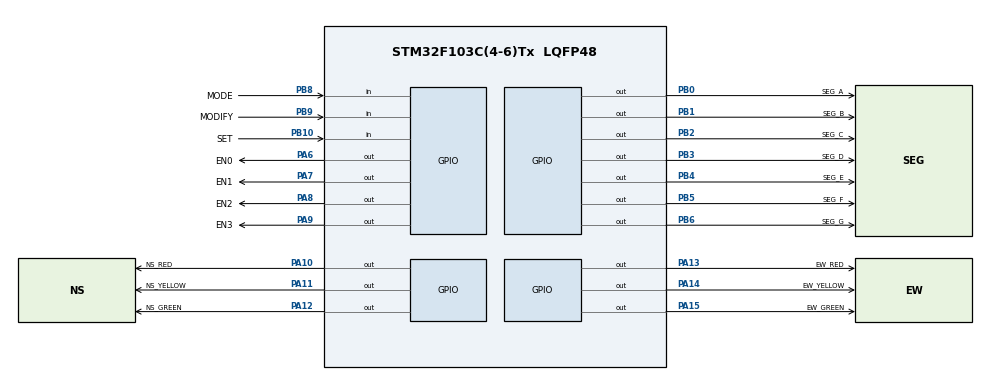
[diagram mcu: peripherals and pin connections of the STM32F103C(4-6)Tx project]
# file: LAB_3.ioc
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Mcu.Family=STM32F1
Mcu.Name=STM32F103C(4-6)Tx
Mcu.Package=LQFP48
NVIC.PriorityGroup=NVIC_PRIORITYGROUP_4
NVIC.TIM2_IRQn=true\:0\:0\:false\:false\:true\:true\:true\:true
PA10.GPIO_Label=NS_RED
PA10.Signal=GPIO_Output
PA11.GPIO_Label=NS_YELLOW
PA11.Signal=GPIO_Output
PA12.GPIO_Label=NS_GREEN
PA12.Signal=GPIO_Output
PA13.GPIO_Label=EW_RED
PA13.Signal=GPIO_Output
PA14.GPIO_Label=EW_YELLOW
PA14.Signal=GPIO_Output
PA15.GPIO_Label=EW_GREEN
PA15.Signal=GPIO_Output
PA6.GPIO_Label=EN0
PA6.Signal=GPIO_Output
PA7.GPIO_Label=EN1
PA7.Signal=GPIO_Output
PA8.GPIO_Label=EN2
PA8.Signal=GPIO_Output
PA9.GPIO_Label=EN3
PA9.Signal=GPIO_Output
PB0.GPIO_Label=SEG_A
PB0.Signal=GPIO_Output
PB1.GPIO_Label=SEG_B
PB1.Signal=GPIO_Output
PB10.GPIO_Label=SET
PB10.GPIO_PuPd=GPIO_PULLUP
PB10.Signal=GPIO_Input
PB2.GPIO_Label=SEG_C
PB2.Signal=GPIO_Output
PB3.GPIO_Label=SEG_D
PB3.Signal=GPIO_Output
PB4.GPIO_Label=SEG_E
PB4.Signal=GPIO_Output
PB5.GPIO_Label=SEG_F
PB5.Signal=GPIO_Output
PB6.GPIO_Label=SEG_G
PB6.Signal=GPIO_Output
PB8.GPIO_Label=MODE
PB8.GPIO_PuPd=GPIO_PULLUP
PB8.Signal=GPIO_Input
PB9.GPIO_Label=MODIFY
PB9.GPIO_PuPd=GPIO_PULLUP
PB9.Signal=GPIO_Input
ProjectManager.HeapSize=0x200
ProjectManager.StackSize=0x400
ProjectManager.TargetToolchain=CMake
RCC.APB1Freq_Value=8000000
RCC.APB2Freq_Value=8000000
TIM2.Period=9
TIM2.Prescaler=7999
VP_SYS_VS_ND.Mode=No_Debug
VP_TIM2_VS_ClockSourceINT.Mode=Internal
board=custom

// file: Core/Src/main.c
/* USER CODE BEGIN Header */
/**
  ******************************************************************************
  * @file           : main.c
  * @brief          : Main program body
  ******************************************************************************
  * @attention
  *
  * Copyright (c) 2026 STMicroelectronics.
  * All rights reserved.
  *
  * This software is licensed under terms that can be found in the LICENSE file
  * in the root directory of this software component.
  * If no LICENSE file comes with this software, it is provided AS-IS.
  *
  ******************************************************************************
  */
/* USER CODE END Header */
#include "main.h"

/* USER CODE BEGIN Includes */

#include "buttons.h"
#include "display.h"
#include "fsm_automatic.h"
#include "fsm_manual.h"
#include "fsm_setting.h"
#include "global.h"
#include "software_timer.h"
#include "traffic_light.h"

/* USER CODE END Includes */

TIM_HandleTypeDef htim2;

void SystemClock_Config(void);
static void MX_GPIO_Init(void);
static void MX_TIM2_Init(void);

int main(void)
{

  /* MCU Configuration--------------------------------------------------------*/

  /* Reset of all peripherals, Initializes the Flash interface and the Systick. */
  HAL_Init();

  /* Configure the system clock */
  SystemClock_Config();

  /* Initialize all configured peripherals */
  MX_GPIO_Init();
  MX_TIM2_Init();
  /* USER CODE BEGIN 2 */

  Buttons_Init();
  Traffic_Init();
  Display_Init();
  fsm_automatic_init();

  if (HAL_TIM_Base_Start_IT(&htim2) != HAL_OK)
  {
    Error_Handler();
  }

  /* USER CODE END 2 */

  /* Infinite loop */
  while (1)
  {

    /* USER CODE BEGIN 3 */
    display();
    fsm_automatic_run();
    fsm_manual_run();
    fsm_setting_run();
  }
  /* USER CODE END 3 */
}

void SystemClock_Config(void)
{
  RCC_OscInitTypeDef RCC_OscInitStruct = {0};
  RCC_ClkInitTypeDef RCC_ClkInitStruct = {0};

  /** Initializes the RCC Oscillators according to the specified parameters
  * in the RCC_OscInitTypeDef structure.
  */
  RCC_OscInitStruct.OscillatorType = RCC_OSCILLATORTYPE_HSI;
  RCC_OscInitStruct.HSIState = RCC_HSI_ON;
  RCC_OscInitStruct.HSICalibrationValue = RCC_HSICALIBRATION_DEFAULT;
  RCC_OscInitStruct.PLL.PLLState = RCC_PLL_NONE;
  if (HAL_RCC_OscConfig(&RCC_OscInitStruct) != HAL_OK)
  {
    Error_Handler();
  }

  /** Initializes the CPU, AHB and APB buses clocks
  */
  RCC_ClkInitStruct.ClockType = RCC_CLOCKTYPE_HCLK|RCC_CLOCKTYPE_SYSCLK
                              |RCC_CLOCKTYPE_PCLK1|RCC_CLOCKTYPE_PCLK2;
  RCC_ClkInitStruct.SYSCLKSource = RCC_SYSCLKSOURCE_HSI;
  RCC_ClkInitStruct.AHBCLKDivider = RCC_SYSCLK_DIV1;
  RCC_ClkInitStruct.APB1CLKDivider = RCC_HCLK_DIV1;
  RCC_ClkInitStruct.APB2CLKDivider = RCC_HCLK_DIV1;

  if (HAL_RCC_ClockConfig(&RCC_ClkInitStruct, FLASH_LATENCY_0) != HAL_OK)
  {
    Error_Handler();
  }
}

static void MX_TIM2_Init(void)
{

  TIM_ClockConfigTypeDef sClockSourceConfig = {0};
  TIM_MasterConfigTypeDef sMasterConfig = {0};

  htim2.Instance = TIM2;
  htim2.Init.Prescaler = 7999;
  htim2.Init.CounterMode = TIM_COUNTERMODE_UP;
  htim2.Init.Period = 9;
  htim2.Init.ClockDivision = TIM_CLOCKDIVISION_DIV1;
  htim2.Init.AutoReloadPreload = TIM_AUTORELOAD_PRELOAD_DISABLE;
  if (HAL_TIM_Base_Init(&htim2) != HAL_OK)
  {
    Error_Handler();
  }
  sClockSourceConfig.ClockSource = TIM_CLOCKSOURCE_INTERNAL;
  if (HAL_TIM_ConfigClockSource(&htim2, &sClockSourceConfig) != HAL_OK)
  {
    Error_Handler();
  }
  sMasterConfig.MasterOutputTrigger = TIM_TRGO_RESET;
  sMasterConfig.MasterSlaveMode = TIM_MASTERSLAVEMODE_DISABLE;
  if (HAL_TIMEx_MasterConfigSynchronization(&htim2, &sMasterConfig) != HAL_OK)
  {
    Error_Handler();
  }

}

static void MX_GPIO_Init(void)
{
  GPIO_InitTypeDef GPIO_InitStruct = {0};

  /* GPIO Ports Clock Enable */
  __HAL_RCC_GPIOA_CLK_ENABLE();
  __HAL_RCC_GPIOB_CLK_ENABLE();

  /*Configure GPIO pin Output Level */
  HAL_GPIO_WritePin(GPIOA, EN0_Pin|EN1_Pin|EN2_Pin|EN3_Pin
                          |NS_RED_Pin|NS_YELLOW_Pin|NS_GREEN_Pin|EW_RED_Pin
                          |EW_YELLOW_Pin|EW_GREEN_Pin, GPIO_PIN_RESET);

  /*Configure GPIO pin Output Level */
  HAL_GPIO_WritePin(GPIOB, SEG_A_Pin|SEG_B_Pin|SEG_C_Pin|SEG_D_Pin
                          |SEG_E_Pin|SEG_F_Pin|SEG_G_Pin, GPIO_PIN_RESET);

  /*Configure GPIO pins : EN0_Pin EN1_Pin EN2_Pin EN3_Pin
                           NS_RED_Pin NS_YELLOW_Pin NS_GREEN_Pin EW_RED_Pin
                           EW_YELLOW_Pin EW_GREEN_Pin */
  GPIO_InitStruct.Pin = EN0_Pin|EN1_Pin|EN2_Pin|EN3_Pin
                          |NS_RED_Pin|NS_YELLOW_Pin|NS_GREEN_Pin|EW_RED_Pin
                          |EW_YELLOW_Pin|EW_GREEN_Pin;
  GPIO_InitStruct.Mode = GPIO_MODE_OUTPUT_PP;
  GPIO_InitStruct.Pull = GPIO_NOPULL;
  GPIO_InitStruct.Speed = GPIO_SPEED_FREQ_LOW;
  HAL_GPIO_Init(GPIOA, &GPIO_InitStruct);

  /*Configure GPIO pins : SEG_A_Pin SEG_B_Pin SEG_C_Pin SEG_D_Pin
                           SEG_E_Pin SEG_F_Pin SEG_G_Pin */
  GPIO_InitStruct.Pin = SEG_A_Pin|SEG_B_Pin|SEG_C_Pin|SEG_D_Pin
                          |SEG_E_Pin|SEG_F_Pin|SEG_G_Pin;
  GPIO_InitStruct.Mode = GPIO_MODE_OUTPUT_PP;
  GPIO_InitStruct.Pull = GPIO_NOPULL;
  GPIO_InitStruct.Speed = GPIO_SPEED_FREQ_LOW;
  HAL_GPIO_Init(GPIOB, &GPIO_InitStruct);

  /*Configure GPIO pins : SET_Pin MODE_Pin MODIFY_Pin */
  GPIO_InitStruct.Pin = SET_Pin|MODE_Pin|MODIFY_Pin;
  GPIO_InitStruct.Mode = GPIO_MODE_INPUT;
  GPIO_InitStruct.Pull = GPIO_PULLUP;
  HAL_GPIO_Init(GPIOB, &GPIO_InitStruct);

}

/* USER CODE BEGIN 4 */

void HAL_TIM_PeriodElapsedCallback(TIM_HandleTypeDef *htim)
{
  if (htim->Instance == TIM2)
  {
    Buttons_Tick10ms();
    timerRun();
  }
}

/* USER CODE END 4 */

void Error_Handler(void)
{
  __disable_irq();
  while (1)
  {
  }
}
